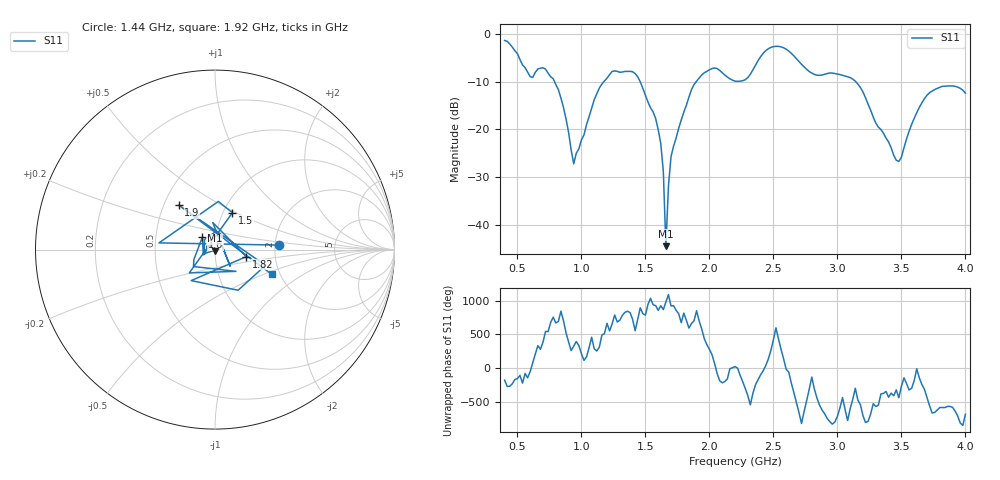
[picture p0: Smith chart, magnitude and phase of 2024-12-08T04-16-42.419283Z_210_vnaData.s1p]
!Created with skrf (http://scikit-rf.org).
# Hz S RI R 50.0
!freq ReS11 ImS11
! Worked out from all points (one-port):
!   181 points, 400 MHz to 4 GHz, reference 50 ohm
!   lowest |S11| = -44.4 dB at 1.66 GHz (marker M1), VSWR 1.01, Z = 49.8 - j0.58 ohm
!   |S11| at or under -10 dB: 789.9 MHz to 1.176 GHz (385.7 MHz wide, 39.2 % of centre); 1.459 GHz to 1.897 GHz (438.2 MHz wide, 26.1 % of centre); 3.143 GHz to end of sweep
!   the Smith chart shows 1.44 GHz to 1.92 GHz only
!   S11 on the Smith chart (normalised r, x): 1.44 GHz: 2.09, +0.12; 1.5 GHz: 1.11, +0.48; 1.6 GHz: 0.86, +0.12; 1.82 GHz: 1.42, -0.11; 1.9 GHz: 0.60, +0.33; 1.92 GHz: 1.81, -0.57
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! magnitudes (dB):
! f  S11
! 400 MHz  -1.4
! 600 MHz  -9.0
! 720 MHz  -7.4
! 860 MHz  -15.4
! 940 MHz  -27.2
! 1.14 GHz  -11.3
! 1.3 GHz  -8.0
! 1.44 GHz  -9.0
! 1.5 GHz  -12.9
! 1.6 GHz  -20.0
! 1.64 GHz  -28.8
! 1.66 GHz  -44.4
! 1.68 GHz  -31.9
! 1.7 GHz  -25.7
! 1.76 GHz  -19.8
! 1.82 GHz  -15.0
! 1.9 GHz  -9.9
! 1.92 GHz  -9.2
! 2.04 GHz  -7.1
! 2.2 GHz  -9.9
! 2.48 GHz  -2.8
! 2.66 GHz  -4.6
! 2.82 GHz  -8.5
! 3.1 GHz  -9.2
! 3.46 GHz  -26.4
! 3.56 GHz  -20.4
! 3.72 GHz  -12.3
! 4 GHz  -12.4
